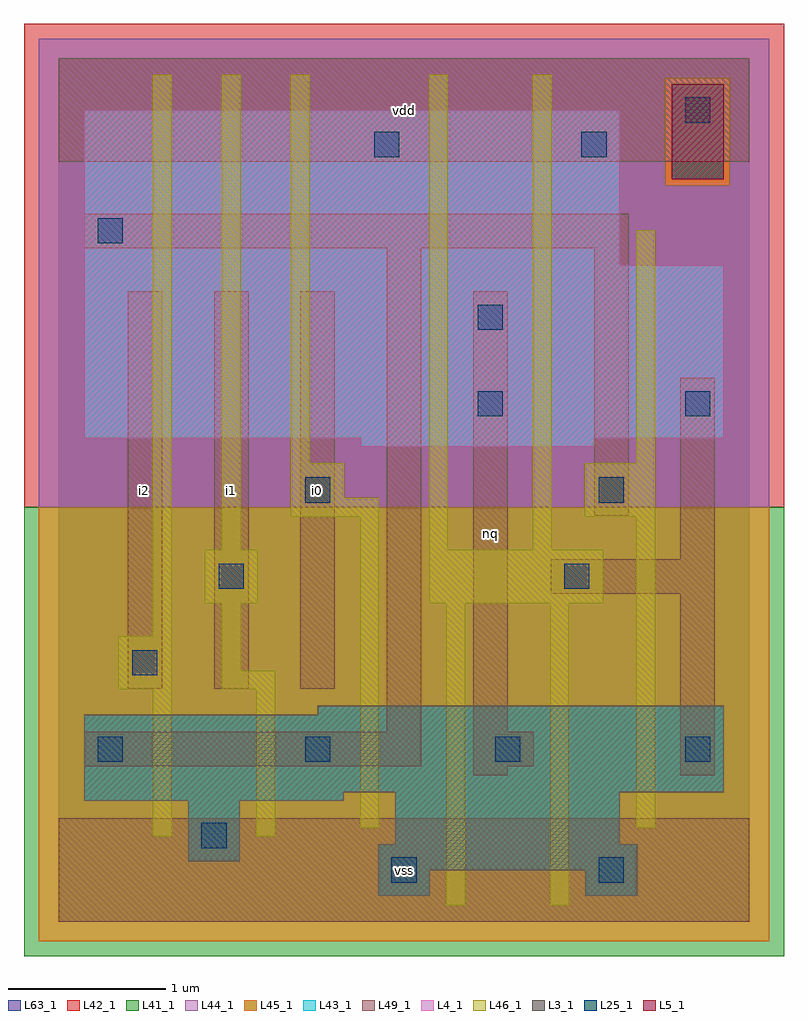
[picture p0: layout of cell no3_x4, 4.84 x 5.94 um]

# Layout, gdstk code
import gdstk
lib = gdstk.Library(unit=1e-6, precision=1e-09)
def R(c, l, rs):  # rectangles x0, y0, x1, y1
    for r in rs: c.add(gdstk.rectangle(r[:2], r[2:], *l))
def A(c, l, x, y, w, h, nx, ny, dx, dy):  # array of equal rectangles
    R(c, l, [(x+i*dx, y+j*dy, x+i*dx+w, y+j*dy+h) for i in range(nx) for j in range(ny)])
L3_1 = (3, 1)
L4_1 = (4, 1)
L5_1 = (5, 1)
L25_1 = (25, 1)
L41_1 = (41, 1)
L42_1 = (42, 1)
L43_1 = (43, 1)
L44_1 = (44, 1)
L45_1 = (45, 1)
L46_1 = (46, 1)
L49_1 = (49, 1)
L63_1 = (63, 1)

no3_x4 = lib.new_cell('no3_x4')
R(no3_x4, L3_1, [(2.035,0.165,2.365,0.33), (3.355,0.165,3.685,0.33), (2.035,0.33,3.685,0.495), (0.825,0.385,1.155,0.77), (2.145,0.495,3.575,0.825), (0.165,0.77,1.815,0.825), (0.165,0.825,4.235,1.32), (1.65,1.32,4.235,1.375)])
R(no3_x4, L4_1, [(1.925,3.025,3.41,3.08), (0.165,3.08,4.235,4.18), (0.165,4.18,3.575,5.17)])
R(no3_x4, L5_1, [(3.905,4.73,4.235,5.335)])
A(no3_x4, L25_1, 1.57, 1.02, 0.16, 0.16, 3, 1, 1.21, 0)
R(no3_x4, L25_1, [(2.12,0.25,2.28,0.41), (3.44,0.25,3.6,0.41), (0.91,0.47,1.07,0.63), (0.25,1.02,0.41,1.18), (0.47,1.57,0.63,1.73), (1.02,2.12,1.18,2.28), (3.22,2.12,3.38,2.28), (1.57,2.67,1.73,2.83), (3.44,2.67,3.6,2.83), (2.67,3.22,2.83,3.38), (3.99,3.22,4.15,3.38), (2.67,3.77,2.83,3.93), (0.25,4.32,0.41,4.48), (2.01,4.87,2.17,5.03), (3.33,4.87,3.49,5.03), (3.99,5.09,4.15,5.25)])
R(no3_x4, L41_1, [(-0.22,-0.22,4.62,2.64)])
R(no3_x4, L42_1, [(-0.22,2.64,4.62,5.72)])
R(no3_x4, L43_1, [(2.035,0.165,2.365,0.33), (3.355,0.165,3.685,0.33), (2.035,0.33,3.685,0.495), (0.825,0.385,1.155,0.77), (2.145,0.495,3.575,0.825), (0.165,0.77,1.815,0.825), (0.165,0.825,4.235,1.32), (1.65,1.32,4.235,1.375), (1.925,3.025,3.41,3.08), (0.165,3.08,4.235,4.18), (0.165,4.18,3.575,5.17), (3.905,4.73,4.235,5.335)])
R(no3_x4, L44_1, [(-0.125,2.64,4.525,4.69), (-0.125,4.69,3.865,5.375), (4.275,4.69,4.525,5.375), (-0.125,5.375,4.525,5.625)])
R(no3_x4, L45_1, [(-0.125,-0.125,4.525,2.64), (3.865,4.69,4.275,5.375)])
R(no3_x4, L46_1, [(2.47,0.105,2.59,2.03), (3.13,0.105,3.25,2.03), (0.6,0.545,0.72,1.48), (1.26,0.545,1.38,1.48), (1.92,0.6,2.04,2.58), (3.68,0.6,3.8,2.58), (0.38,1.48,0.72,1.82), (1.04,1.48,1.38,1.6), (1.04,1.6,1.16,2.03), (0.6,1.82,0.72,5.395), (0.93,2.03,1.27,2.37), (2.36,2.03,3.47,2.37), (1.04,2.37,1.16,5.395), (2.36,2.37,2.48,5.395), (3.02,2.37,3.14,5.395), (1.48,2.58,2.04,2.7), (3.35,2.58,3.8,2.92), (1.48,2.7,1.82,2.92), (1.48,2.92,1.6,5.395), (3.68,2.92,3.8,4.405)])
A(no3_x4, L49_1, 0.44, 1.485, 0.22, 2.53, 3, 1, 0.55, 0)
R(no3_x4, L49_1, [(0,0,4.4,0.66), (2.64,0.935,2.86,0.99), (3.96,0.935,4.18,2.09), (0.165,0.99,2.31,1.21), (2.64,0.99,3.025,1.21), (2.09,1.21,2.31,4.29), (2.64,1.21,2.86,4.015), (3.135,2.09,4.18,2.31), (3.96,2.31,4.18,3.465), (3.41,2.585,3.63,4.29), (0.165,4.29,3.63,4.51), (0,4.84,4.4,5.5)])
R(no3_x4, L63_1, [(0,0,4.4,5.5)])
no3_x4.add(gdstk.Label('i2', (0.55,2.75), layer=49, texttype=1))
no3_x4.add(gdstk.Label('i0', (1.65,2.75), layer=49, texttype=1))
no3_x4.add(gdstk.Label('i1', (1.1,2.75), layer=49, texttype=1))
no3_x4.add(gdstk.Label('vss', (2.2,0.33), layer=49, texttype=1))
no3_x4.add(gdstk.Label('nq', (2.75,2.475), layer=49, texttype=1))
no3_x4.add(gdstk.Label('vdd', (2.2,5.17), layer=49, texttype=1))

lib.write_gds('no3_x4.gds')
